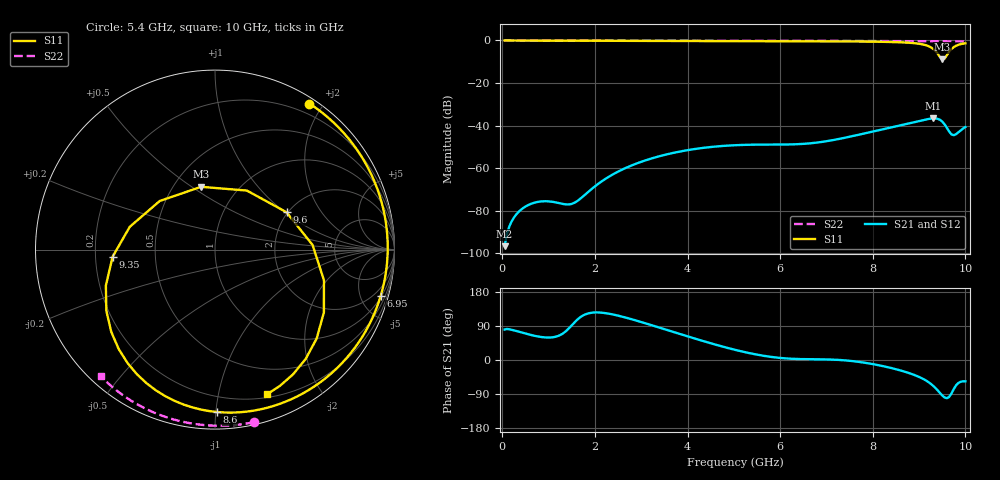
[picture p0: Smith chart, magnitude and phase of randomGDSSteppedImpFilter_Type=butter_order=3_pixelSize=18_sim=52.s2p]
! freq	dB(S11)	phase(S11)	dB(S12)	phase(S12)
!  dB(S21)	phase(S21)	dB(S22)	phase(S22)
!S-par simulation data
#  GHz  S  DB  R 50
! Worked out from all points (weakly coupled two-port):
!   200 points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, 50 MHz to 10 GHz, reference 50 ohm
!   highest |S21| = -36.62 dB at 9.3 GHz (marker M1); lowest = -96.6 dB at 50 MHz (marker M2)
!   lowest |S11| = -8.9 dB at 9.5 GHz (marker M3), VSWR 2.12, Z = 34 + j27.3 ohm
!   |S11| at or under -10 dB: nowhere
!   |S22| runs from -0.4 to 0.0 dB; largest |S21 - S12| = 0
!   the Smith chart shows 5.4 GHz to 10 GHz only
!   S11 on the Smith chart (normalised r, x): 5.4 GHz: 0.07, +1.84; 6.95 GHz: 1.11, -7.08; 8.6 GHz: 0.10, -1.01; 9.35 GHz: 0.27, -0.03; 9.6 GHz: 1.97, +1.03; 10 GHz: 0.23, -1.40
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0.05  -0.01 -3.3  -96.64 80.4  -96.64 80.4  -0.00 -0.8
0.45  -0.05 -30.8  -78.73 71.4  -78.73 71.4  -0.01 -6.9
0.95  -0.08 -63.9  -75.53 59.4  -75.53 59.4  -0.02 -14.4
1.45  -0.11 -95.1  -77.00 85.0  -77.00 85.0  -0.03 -21.9
1.75  -0.13 -112.8  -73.16 117.9  -73.16 117.9  -0.03 -26.4
2.6  -0.16 -159.8  -60.55 114.0  -60.55 114.0  -0.05 -38.8
3.4  -0.20 158.6  -54.35 85.2  -54.35 85.2  -0.07 -50.2
4.25  -0.23 115.2  -50.71 53.2  -50.71 53.2  -0.09 -62.0
5.05  -0.26 74.6  -49.19 26.1  -49.19 26.1  -0.11 -72.7
5.4  -0.27 57.1  -48.97 16.5  -48.97 16.5  -0.12 -77.2
6.05  -0.30 25.5  -48.90 4.9  -48.90 4.9  -0.15 -85.5
6.7  -0.34 -4.6  -48.21 2.0  -48.21 2.0  -0.18 -93.6
6.95  -0.37 -15.7  -47.51 1.7  -47.51 1.7  -0.19 -96.7
8.35  -0.70 -76.7  -41.09 -19.7  -41.09 -19.7  -0.29 -113.3
8.6  -0.87 -89.4  -39.86 -27.6  -39.86 -27.6  -0.31 -116.2
9.05  -1.73 -122.1  -37.60 -47.6  -37.60 -47.6  -0.35 -121.3
9.3  -3.87 -161.8  -36.62 -67.7  -36.62 -67.7  -0.37 -124.2
9.35  -4.85 -176.0  -36.63 -73.5  -36.63 -73.5  -0.38 -124.8
9.5  -8.92 102.4  -38.10 -93.7  -38.10 -93.7  -0.39 -126.5
9.6  -6.94 27.6  -41.03 -100.8  -41.03 -100.8  -0.40 -127.6
9.75  -3.10 -29.9  -44.52 -76.3  -44.52 -76.3  -0.42 -129.3
10  -1.34 -70.2  -40.66 -56.2  -40.66 -56.2  -0.45 -132.1
